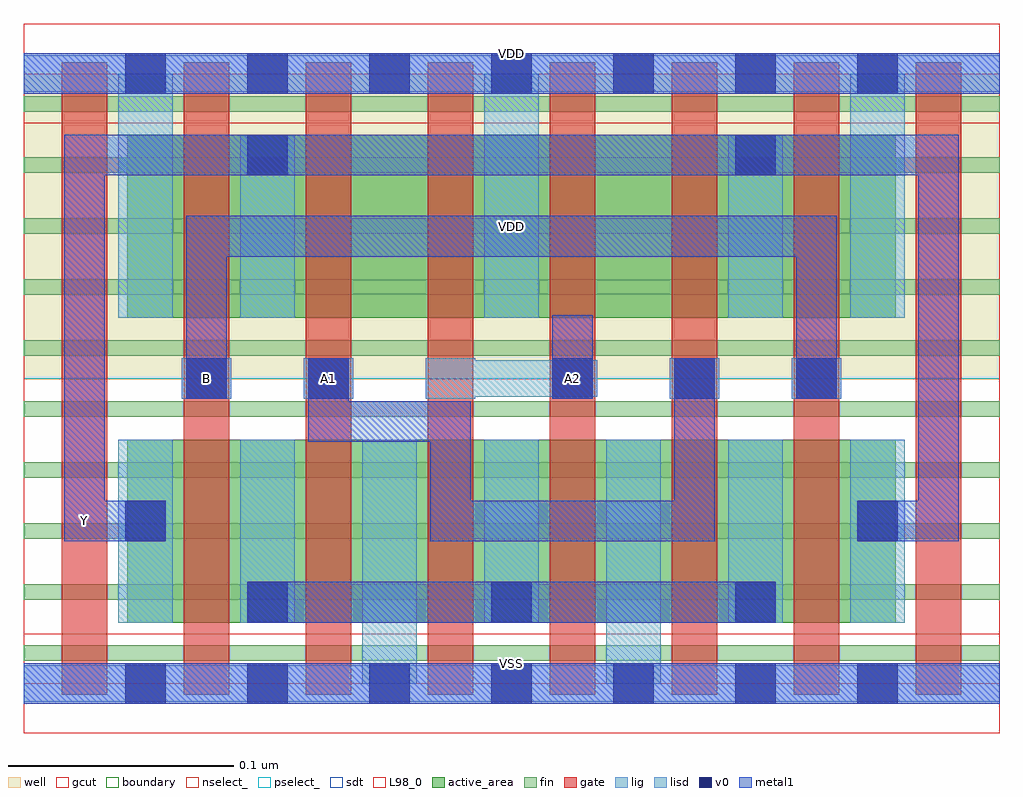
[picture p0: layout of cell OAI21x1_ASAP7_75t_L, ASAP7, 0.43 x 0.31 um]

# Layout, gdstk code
import gdstk
lib = gdstk.Library(unit=1e-6, precision=2.5e-10)
def R(c, l, rs):  # rectangles x0, y0, x1, y1
    for r in rs: c.add(gdstk.rectangle(r[:2], r[2:], *l))
def A(c, l, x, y, w, h, nx, ny, dx, dy):  # array of equal rectangles
    R(c, l, [(x+i*dx, y+j*dy, x+i*dx+w, y+j*dy+h) for i in range(nx) for j in range(ny)])
def P(c, l, *ps):  # polygons
    for p in ps: c.add(gdstk.Polygon(p, *l))
well = (1, 0)
fin = (2, 0)
gate = (7, 0)
gcut = (10, 0)
active_area = (11, 0)
nselect_ = (12, 0)
pselect_ = (13, 0)
lig = (16, 0)
lisd = (17, 0)
v0 = (18, 0)
metal1 = (19, 0)
sdt = (88, 0)
L98_0 = (98, 0)
boundary = (100, 0)

oai21x1_asap7_75t_l = lib.new_cell('OAI21x1_ASAP7_75t_L')
R(oai21x1_asap7_75t_l, well, [(0,0.135,0.432,0.27)])
A(oai21x1_asap7_75t_l, fin, 0, 0.01, 0.432, 0.007, 1, 10, 0, 0.027)
A(oai21x1_asap7_75t_l, gate, 0.017, -0.005, 0.02, 0.28, 8, 1, 0.054, 0)
R(oai21x1_asap7_75t_l, gcut, [(0,-0.022,0.432,0.022), (0,0.248,0.432,0.292)])
R(oai21x1_asap7_75t_l, active_area, [(0.046,0.027,0.386,0.108), (0.046,0.162,0.386,0.243)])
R(oai21x1_asap7_75t_l, nselect_, [(0,0,0.432,0.135)])
R(oai21x1_asap7_75t_l, pselect_, [(0,0.135,0.432,0.27)])
A(oai21x1_asap7_75t_l, lig, 0.07, 0.126, 0.022, 0.018, 3, 1, 0.054, 0)
R(oai21x1_asap7_75t_l, lig, [(0,-0.008,0.432,0.008), (0.286,0.126,0.308,0.144), (0.34,0.126,0.362,0.144), (0.178,0.127,0.254,0.143), (0,0.262,0.432,0.278)])
A(oai21x1_asap7_75t_l, lisd, 0.096, 0.027, 0.024, 0.081, 3, 1, 0.108, 0)
R(oai21x1_asap7_75t_l, lisd, [(0.15,0,0.174,0.108), (0.15,0,0.174,0.108), (0.258,0,0.282,0.108), (0.258,0,0.282,0.108), (0.042,0.027,0.066,0.108), (0.366,0.027,0.39,0.108), (0.042,0.162,0.066,0.27), (0.042,0.162,0.066,0.27), (0.096,0.162,0.12,0.243), (0.204,0.162,0.228,0.27), (0.204,0.162,0.228,0.27), (0.312,0.162,0.336,0.243), (0.366,0.162,0.39,0.27), (0.366,0.162,0.39,0.27)])
A(oai21x1_asap7_75t_l, v0, 0.045, -0.009, 0.018, 0.018, 7, 2, 0.054, 0.27)
A(oai21x1_asap7_75t_l, v0, 0.099, 0.027, 0.018, 0.018, 3, 1, 0.108, 0)
A(oai21x1_asap7_75t_l, v0, 0.234, 0.126, 0.018, 0.018, 3, 1, 0.054, 0)
R(oai21x1_asap7_75t_l, v0, [(0.045,0.063,0.063,0.081), (0.369,0.063,0.387,0.081), (0.072,0.126,0.09,0.144), (0.126,0.126,0.144,0.144), (0.099,0.225,0.117,0.243), (0.315,0.225,0.333,0.243)])
A(oai21x1_asap7_75t_l, metal1, 0.099, 0.027, 0.018, 0.018, 3, 1, 0.108, 0)
A(oai21x1_asap7_75t_l, metal1, 0.234, 0.126, 0.018, 0.018, 3, 1, 0.054, 0)
R(oai21x1_asap7_75t_l, metal1, [(0,-0.009,0.432,0.009), (0.099,0.027,0.333,0.045), (0.045,0.063,0.063,0.081), (0.369,0.063,0.387,0.081), (0.072,0.126,0.09,0.144), (0.126,0.126,0.144,0.144), (0.234,0.126,0.252,0.163), (0.099,0.225,0.117,0.243), (0.315,0.225,0.333,0.243), (0,0.261,0.432,0.279)])
P(oai21x1_asap7_75t_l, metal1, [(0.369,0.081),(0.369,0.063),(0.414,0.063),(0.414,0.243),(0.018,0.243),(0.018,0.063),(0.063,0.063),(0.063,0.081),(0.036,0.081),(0.036,0.225),(0.396,0.225),(0.396,0.081)],
  [(0.36,0.126),(0.36,0.207),(0.072,0.207),(0.072,0.126),(0.09,0.126),(0.09,0.189),(0.342,0.189),(0.342,0.126)],
  [(0.288,0.144),(0.288,0.081),(0.198,0.081),(0.198,0.125),(0.144,0.125),(0.144,0.144),(0.126,0.144),(0.126,0.107),(0.18,0.107),(0.18,0.063),(0.306,0.063),(0.306,0.144)])
A(oai21x1_asap7_75t_l, sdt, 0.042, 0.027, 0.024, 0.081, 3, 1, 0.054, 0)
A(oai21x1_asap7_75t_l, sdt, 0.15, 0.027, 0.024, 0.081, 3, 1, 0.054, 0)
A(oai21x1_asap7_75t_l, sdt, 0.258, 0.027, 0.024, 0.081, 3, 1, 0.054, 0)
R(oai21x1_asap7_75t_l, sdt, [(0.042,0.162,0.066,0.243), (0.042,0.162,0.066,0.243), (0.096,0.162,0.12,0.243), (0.204,0.162,0.228,0.243), (0.204,0.162,0.228,0.243), (0.312,0.162,0.336,0.243), (0.366,0.162,0.39,0.243), (0.366,0.162,0.39,0.243)])
R(oai21x1_asap7_75t_l, L98_0, [(0,0,0.432,0.27)])
R(oai21x1_asap7_75t_l, boundary, [(0,0,0.432,0.27)])
oai21x1_asap7_75t_l.add(gdstk.Label('VDD', (0.216,0.2025), layer=1, texttype=251))
oai21x1_asap7_75t_l.add(gdstk.Label('VSS', (0.216,-0.0675), layer=3, texttype=251))
oai21x1_asap7_75t_l.add(gdstk.Label('VSS', (0.216,0.009), layer=19, texttype=251))
oai21x1_asap7_75t_l.add(gdstk.Label('VDD', (0.216,0.279), layer=19, texttype=251))
oai21x1_asap7_75t_l.add(gdstk.Label('Y', (0.027,0.072), layer=19, texttype=251))
oai21x1_asap7_75t_l.add(gdstk.Label('B', (0.081,0.135), layer=19, texttype=251))
oai21x1_asap7_75t_l.add(gdstk.Label('A1', (0.135,0.135), layer=19, texttype=251))
oai21x1_asap7_75t_l.add(gdstk.Label('A2', (0.243,0.135), layer=19, texttype=251))

lib.write_gds('OAI21x1_ASAP7_75t_L.gds')
